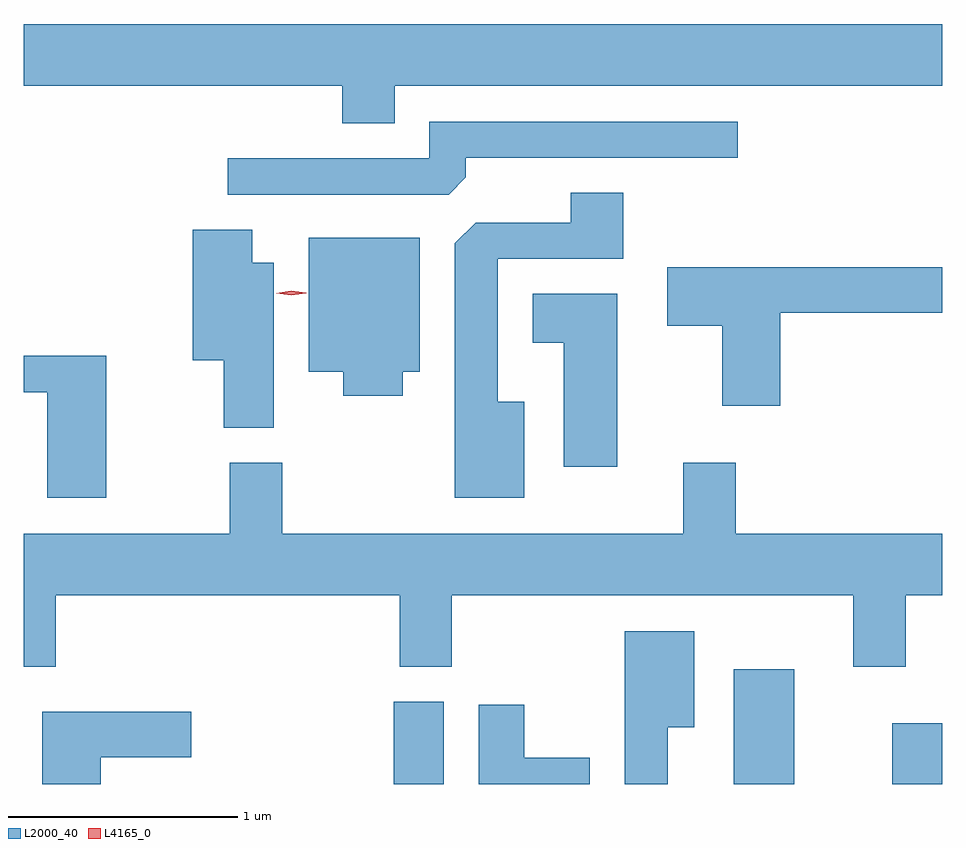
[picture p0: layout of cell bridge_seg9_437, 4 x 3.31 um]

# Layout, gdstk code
import gdstk
lib = gdstk.Library(unit=1e-6, precision=1e-09)
def R(c, l, rs):  # rectangles x0, y0, x1, y1
    for r in rs: c.add(gdstk.rectangle(r[:2], r[2:], *l))
def P(c, l, *ps):  # polygons
    for p in ps: c.add(gdstk.Polygon(p, *l))
L2000_40 = (2000, 40)
L4165_0 = (4165, 0)

bridge_seg9_437 = lib.new_cell('bridge_seg9_437')
R(bridge_seg9_437, L2000_40, [(365.886,2019.855,366.104,2020.214), (367.366,2019.855,367.629,2020.354), (368.056,2019.855,368.274,2020.119)])
P(bridge_seg9_437, L2000_40, [(365.889,2022.896),(368.274,2022.896),(368.274,2023.164),(364.274,2023.164),(364.274,2022.896),(365.661,2022.896),(365.661,2022.731),(365.889,2022.731)],
  [(366.199,2022.497),(366.199,2022.581),(367.383,2022.581),(367.383,2022.739),(366.041,2022.739),(366.041,2022.579),(365.163,2022.579),(365.163,2022.421),(366.124,2022.421)],
  [(366.454,2021.519),(366.339,2021.519),(366.339,2022.141),(366.884,2022.141),(366.884,2022.429),(366.656,2022.429),(366.656,2022.299),(366.242,2022.299),(366.151,2022.209),(366.151,2021.101),(366.454,2021.101)],
  [(365.364,2022.124),(365.269,2022.124),(365.269,2022.269),(365.011,2022.269),(365.011,2021.701),(365.146,2021.701),(365.146,2021.406),(365.364,2021.406)],
  [(365.924,2021.651),(365.999,2021.651),(365.999,2022.234),(365.516,2022.234),(365.516,2021.651),(365.666,2021.651),(365.666,2021.546),(365.924,2021.546)],
  [(367.569,2021.906),(368.274,2021.906),(368.274,2022.104),(367.076,2022.104),(367.076,2021.851),(367.316,2021.851),(367.316,2021.501),(367.569,2021.501)],
  [(366.859,2021.989),(366.491,2021.989),(366.491,2021.776),(366.626,2021.776),(366.626,2021.236),(366.859,2021.236)],
  [(364.634,2021.719),(364.274,2021.719),(364.274,2021.561),(364.376,2021.561),(364.376,2021.101),(364.634,2021.101)],
  [(364.414,2020.676),(365.911,2020.676),(365.911,2020.366),(366.139,2020.366),(366.139,2020.676),(367.886,2020.676),(367.886,2020.366),(368.114,2020.366),(368.114,2020.676),(368.274,2020.676),(368.274,2020.944),(367.374,2020.944),(367.374,2021.254),(367.146,2021.254),(367.146,2020.944),(365.399,2020.944),(365.399,2021.254),(365.171,2021.254),(365.171,2020.944),(364.274,2020.944),(364.274,2020.366),(364.414,2020.366)],
  [(367.079,2020.101),(367.194,2020.101),(367.194,2020.519),(366.891,2020.519),(366.891,2019.855),(367.079,2019.855)],
  [(366.739,2019.969),(366.454,2019.969),(366.454,2020.199),(366.256,2020.199),(366.256,2019.855),(366.739,2019.855)],
  [(364.609,2019.971),(365.004,2019.971),(365.004,2020.169),(364.356,2020.169),(364.356,2019.855),(364.609,2019.855)])
P(bridge_seg9_437, L4165_0, [(365.439,2021.982),(365.373,2021.991),(365.373,2021.991),(365.373,2021.992),(365.439,2022.002),(365.505,2021.993),(365.505,2021.992),(365.505,2021.992)])

lib.write_gds('bridge_seg9_437.gds')
